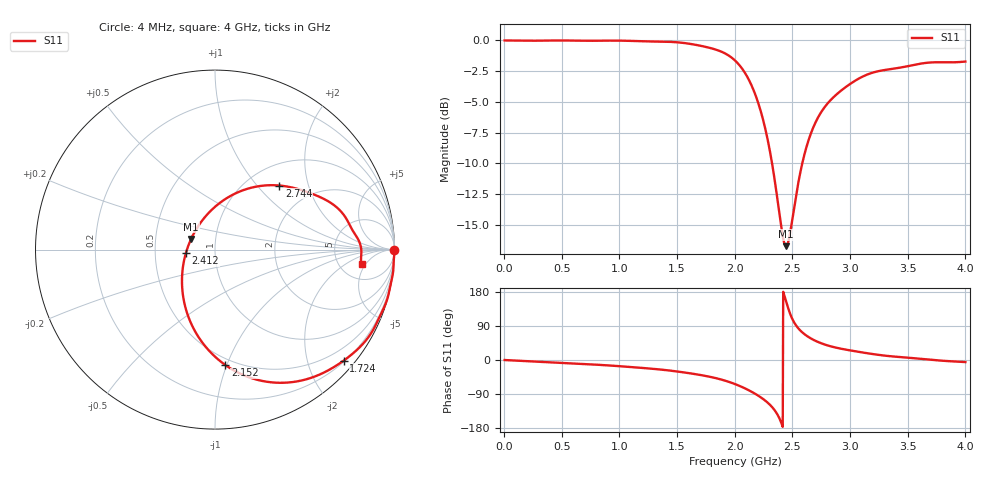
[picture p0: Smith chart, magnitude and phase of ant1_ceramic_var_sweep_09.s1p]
! TOUCHSTONE file generated by CST MICROWAVE STUDIO
! Date and time: Fri May  6 09:22:50 2022
! Project name: ant1_ceramic_sweep_10porcent.cst
! Parameters = {e=0.035; h=1.6; i=0.8; l1=0.55; l2=17; ls=80; wl=1.7; ws=30}
! Header version: 2018
! Port assignment regex: !\s*Touchstone port\s*([0-9]+)\s*=\s*(CST MWS port|CST DS port)\s*([0-9]+|Zmin|Zmax)\s*\(\"(.*)\"\)(\s*mode\s*([0-9]+))?.*
! Touchstone port assignment:
! Touchstone port 1 = CST MWS port 1 ("")
# GHz S DB R 50
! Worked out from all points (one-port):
!   1000 points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, 4 MHz to 4 GHz, reference 50 ohm
!   lowest |S11| = -16.7 dB at 2.444 GHz (marker M1), VSWR 1.34, Z = 38 + j4.62 ohm
!   |S11| at or under -10 dB: 2.324 GHz to 2.585 GHz (261.7 MHz wide, 10.7 % of centre)
!   S11 on the Smith chart (normalised r, x): 4 MHz: open; 1.724 GHz: 0.22, -2.68; 2.152 GHz: 0.45, -0.99; 2.412 GHz: 0.72, -0.03; 2.744 GHz: 1.38, +1.33; 4 GHz: 8.26, -3.95
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0.004  -0.00 -0.1
0.504  -0.00 -7.5
1.004  -0.01 -16.4
1.328  -0.09 -24.3
1.504  -0.15 -30.4
1.724  -0.47 -40.8
1.876  -0.88 -51.0
1.94  -1.18 -56.8
2.004  -1.65 -63.8
2.08  -2.51 -73.6
2.152  -3.79 -84.8
2.228  -5.84 -99.1
2.292  -8.38 -114.4
2.352  -11.72 -135.2
2.412  -15.71 -172.9
2.444  -16.73 155.9
2.468  -16.22 132.3
2.504  -14.25 105.3
2.56  -11.12 80.5
2.612  -8.99 66.4
2.672  -7.27 54.9
2.744  -5.91 44.8
2.856  -4.62 34.2
3.004  -3.51 25.2
3.212  -2.57 15.0
3.504  -2.08 6.0
3.696  -1.79 0.8
4  -1.71 -5.4
